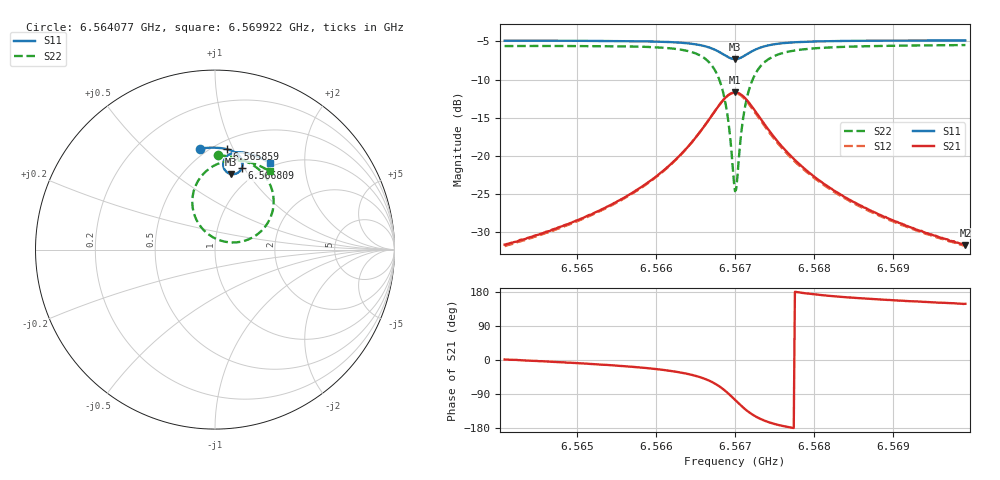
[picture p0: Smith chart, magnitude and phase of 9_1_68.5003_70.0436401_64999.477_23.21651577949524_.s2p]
#  HZ  S  RI  R  50.00
! Rohde & Schwarz Vector Network Analyzer
! Rohde-Schwarz,ZNB20-2Port,1311601062101988,3.16
! Created: UTC 3/20/2024, 5:04:05 PM
! freq[Hz]  re:S11  im:S11  re:S21  im:S21  re:S12  im:S12  re:S22  im:S22
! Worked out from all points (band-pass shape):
!   401 points, 6.564077 GHz to 6.569922 GHz, reference 50 ohm
!   highest |S21| = -11.68 dB at 6.566999 GHz (marker M1); lowest = -31.7 dB at 6.569922 GHz (marker M2)
!   |S21| within 3 dB of the highest: 6.566708 GHz to 6.567292 GHz (584.3 kHz wide, 0.0089 % of centre)
!   lowest |S11| = -7.3 dB at 6.566999 GHz (marker M3), VSWR 2.51, Z = 40.4 + j41.8 ohm
!   |S11| at or under -10 dB: nowhere
!   |S22| runs from -24.6 to -5.5 dB; largest |S21 - S12| = 0.012
!   S11 on the Smith chart (normalised r, x): 6.564077 GHz: 0.45, +0.75; 6.565859 GHz: 0.58, +0.94; 6.566809 GHz: 0.83, +0.97; 6.569922 GHz: 0.94, +1.35
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6.5640765e9  -0.0844 0.5627  0.0261 0.000627  0.0255 0.000227  0.0145 0.5246
6.5650556e9  -0.00532 0.5678  0.0384 -0.006  0.0378 -0.00657  0.1038 0.5145
6.5658594e9  0.0668 0.5593  0.0606 -0.0231  0.0595 -0.0239  0.1993 0.4787
6.5660348e9  0.0845 0.5541  0.0688 -0.0318  0.0676 -0.0326  0.2261 0.4612
6.5663563e9  0.1199 0.5363  0.0886 -0.0617  0.0871 -0.0629  0.2843 0.4019
6.5665755e9  0.1444 0.5097  0.1016 -0.1076  0.0994 -0.1096  0.3224 0.3134
6.566707e9  0.1534 0.4818  0.0975 -0.1563  0.0937 -0.159  0.3222 0.2204
6.5668093e9  0.1487 0.4528  0.0717 -0.206  0.0657 -0.2089  0.2786 0.1266
6.566897e9  0.1287 0.4293  0.0208 -0.2449  0.0116 -0.2455  0.1862 0.0566
6.5669262e9  0.1183 0.4238  -0.00268 -0.2526  -0.0125 -0.2518  0.1439 0.0439
6.5669847e9  0.0946 0.4205  -0.0549 -0.2543  -0.0653 -0.25  0.0511 0.0449
6.5669993e9  0.0883 0.4213  -0.0681 -0.2516  -0.0782 -0.2463  0.0283 0.0513
6.5670285e9  0.0766 0.4251  -0.0932 -0.2419  -0.1026 -0.2351  -0.0146 0.0705
6.567087e9  0.0578 0.4399  -0.1343 -0.2107  -0.1407 -0.2013  -0.0815 0.1303
6.5671308e9  0.0492 0.4545  -0.1541 -0.1815  -0.1582 -0.1713  -0.1112 0.184
6.5671893e9  0.0453 0.4744  -0.1667 -0.1419  -0.1681 -0.1323  -0.1263 0.2544
6.5672624e9  0.0494 0.496  -0.1668 -0.0995  -0.1657 -0.0913  -0.118 0.3277
6.5675254e9  0.0884 0.5345  -0.125 -0.0216  -0.1223 -0.0182  -0.023 0.4569
6.5679784e9  0.1469 0.5421  -0.0743 0.008  -0.0725 0.00902  0.0965 0.4962
6.5684169e9  0.1898 0.5342  -0.0511 0.0131  -0.0499 0.0137  0.1658 0.4922
6.5689576e9  0.2346 0.5187  -0.0358 0.0141  -0.035 0.0144  0.2259 0.4756
6.5699221e9  0.3042 0.4832  -0.0221 0.0137  -0.0216 0.0138  0.306 0.4361
